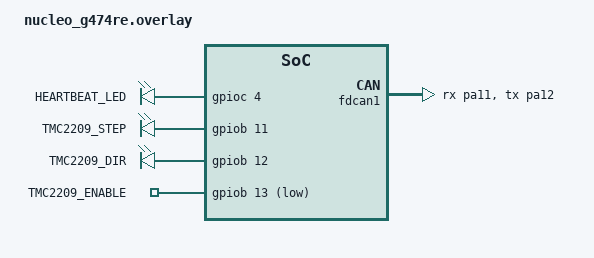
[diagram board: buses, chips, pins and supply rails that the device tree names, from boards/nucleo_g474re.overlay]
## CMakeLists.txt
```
#
# Motor Node MCU
# STM32 NUCLEO-G474RE
# Zephyr RTOS 3.7 LTS
#

cmake_minimum_required(VERSION 3.20.0)

# ============================================================
# Devicetree Overlay
#
# nucleo_g474re.overlay lives in boards/nucleo_g474re.overlay,
# which is Zephyr's standard per-board overlay location. West
# auto-detects and applies an overlay at
# <app_root>/boards/<board>.overlay with zero extra CMake
# configuration — no DTC_OVERLAY_FILE override needed here.
# If the board target ever changes, rename the overlay file to
# match the new board name under boards/.
# ============================================================

find_package(Zephyr REQUIRED HINTS $ENV{ZEPHYR_BASE})
project(motor_node_mcu)

# ============================================================
# C++20 Standard (Rule 2)
# ============================================================

set(CMAKE_CXX_STANDARD 20)
set(CMAKE_CXX_STANDARD_REQUIRED ON)
set(CMAKE_CXX_EXTENSIONS OFF)

# ============================================================
# Compiler Flags — Zero Warnings Policy for application code
# (Rule 2 & 3)
#
# NOTE: -Wpedantic is intentionally NOT applied. Zephyr's own
# kernel headers (spinlock.h, kernel.h, sys_clock.h, log_msg.h,
# sw_isr_table.h, etc.) rely on GNU C extensions — flexible
# array members, compound literals, anonymous structs, and
# statement expressions — that are required by the Zephyr C
# kernel ABI and are not valid strict ISO C++. These are
# vendor-RTOS headers outside this project's control; -Wpedantic
# cannot be satisfied against them in a C++ Zephyr application.
# This is consistent with upstream Zephyr's own C++ sample apps.
#
# -Wno-format silences a known Zephyr __ASSERT false positive
# where %p is used against typed pointers (e.g. k_spinlock*)
# inside spinlock.h; this is a vendor header issue, not an
# application defect.
#
# -Wno-volatile silences errors from ST's CMSIS/HAL/LL register
# access macros (SET_BIT, CLEAR_BIT, SCB->SHCSR |= ..., etc. in
# stm32g4xx_ll_*.h and mpu_armv7.h). These macros perform
# compound assignment on volatile-qualified memory-mapped
# hardware registers, which C++20 deprecates and GCC's
# -Wvolatile flags as an error under -Werror. This is required,
# correct register-access behavior for direct hardware control
# and is vendor silicon-support code outside this project's
# control; the application's own files contain no volatile
# compound-assignment usage of this kind.
# ============================================================

target_compile_options(app PRIVATE
    -std=c++20
    -Wall
    -Wextra
    -Werror
    -Wno-format
    -Wno-volatile
)

# ============================================================
# Include directories
# ============================================================

target_include_directories(app PRIVATE
    include
)

# ============================================================
# Source files
# ============================================================

target_sources(app PRIVATE
    src/main.cpp
    src/gpio_overlay.cpp
    src/canfd.cpp
    src/heartbeat.cpp
    src/stepper_motor_driver.cpp
)
```

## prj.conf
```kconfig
#
# Motor Node MCU Configuration
# Zephyr RTOS 3.7 LTS
#

# ============================================================
# C LIBRARY SELECTION
# ============================================================
# Zephyr 3.7.0 + Zephyr SDK 0.17.2 has a known regression where
# lib/libc/picolibc/libc-hooks.c conflicts with the picolibc
# headers bundled in this SDK version ("conflicting types for
# '__lock___libc_recursive_mutex'"). This is an upstream
# SDK/source mismatch, not an application defect. Newlib does
# not have this conflict and is fully supported on this target;
# switching to it is the standard workaround until the picolibc
# integration is fixed upstream or a matching SDK/Zephyr pair is
# used instead.
# ============================================================

CONFIG_NEWLIB_LIBC=y

# ============================================================
# BASIC SYSTEM
# ============================================================

CONFIG_MAIN_STACK_SIZE=2048
CONFIG_SYSTEM_WORKQUEUE_STACK_SIZE=2048

CONFIG_LOG=y
CONFIG_LOG_DEFAULT_LEVEL=3

CONFIG_PRINTK=y

# ============================================================
# GPIO
# ============================================================

CONFIG_GPIO=y

# ============================================================
# CAN (FDCAN)
# ============================================================

CONFIG_CAN=y
CONFIG_CAN_FD_MODE=y

CONFIG_CAN_RX_TIMESTAMP=y

# ============================================================
# THREADING
# ============================================================

CONFIG_MULTITHREADING=y

# ============================================================
# LOGGING BACKEND
# ============================================================

CONFIG_LOG_MODE_IMMEDIATE=y

# ============================================================
# DEBUG SUPPORT (OPTIONAL)
# ============================================================

CONFIG_ASSERT=y
CONFIG_DEBUG=y

# ============================================================
# STACK PROTECTION
# ============================================================

CONFIG_THREAD_STACK_INFO=y
CONFIG_INIT_STACKS=y

# ============================================================
# KERNEL TICK CONFIG
# ============================================================

CONFIG_TICKLESS_KERNEL=y

# ============================================================
# NO HEAP ALLOCATION (Rule 1)
# ============================================================

CONFIG_HEAP_MEM_POOL_SIZE=0
```

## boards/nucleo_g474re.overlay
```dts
#include <zephyr/dt-bindings/gpio/gpio.h>

&gpiob {
    status = "okay";
};

&gpioc {
    status = "okay";
};

/ {
    aliases {
        heartbeat-led   = &heartbeat_led;
        stepper-step    = &stepper_step;
        stepper-dir     = &stepper_dir;
        stepper-enable  = &stepper_enable;
        canfd0          = &fdcan1;
    };

    heartbeat_leds {
        compatible = "gpio-leds";

        heartbeat_led: heartbeat_led {
            gpios = <&gpioc 4 GPIO_ACTIVE_HIGH>;
            label = "HEARTBEAT_LED";
        };
    };

    /* ============================================================
     * TMC2209 STEP/DIR/EN outputs
     *
     * Reuses the GPIOB pins previously wired to the L298N IN1-IN4
     * inputs (PB11-PB14). Only 3 of the 4 former pins are needed
     * for TMC2209 STEP/DIR/EN control, so PB14 is now free.
     *
     * ENABLE is GPIO_ACTIVE_LOW because the TMC2209's EN pin is
     * hardware active-low (driver outputs enabled when EN is
     * driven low). Declaring it ACTIVE_LOW here lets application
     * code treat gpio_pin_set_dt(&enable, 1) as "enable the
     * driver" regardless of the pin's physical polarity.
     * ============================================================
     */
    tmc2209_outputs {
        compatible = "gpio-leds";

        stepper_step: stepper_step {
            gpios = <&gpiob 11 GPIO_ACTIVE_HIGH>;
            label = "TMC2209_STEP";
        };

        stepper_dir: stepper_dir {
            gpios = <&gpiob 12 GPIO_ACTIVE_HIGH>;
            label = "TMC2209_DIR";
        };

        stepper_enable: stepper_enable {
            gpios = <&gpiob 13 GPIO_ACTIVE_LOW>;
            label = "TMC2209_ENABLE";
        };
    };
};

/ {
    chosen {
        zephyr,canbus = &fdcan1;
    };
};

&fdcan1 {
    status = "okay";
    pinctrl-0 = <&fdcan1_rx_pa11 &fdcan1_tx_pa12>;
    pinctrl-names = "default";
};
```

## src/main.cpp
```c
/*
 * SPDX-License-Identifier: Apache-2.0
 *
 * Main Application Entry
 * Motor Node MCU
 * Board : STM32 NUCLEO-G474RE
 * RTOS  : Zephyr 3.7 LTS
 */

#include <zephyr/kernel.h>
#include <zephyr/logging/log.h>
#include <cstring>

#include "gpio_overlay.hpp"
#include "canfd.hpp"
#include "heartbeat.hpp"
#include "stepper_motor_driver.hpp"

LOG_MODULE_REGISTER(main, CONFIG_LOG_DEFAULT_LEVEL);

namespace motor_node
{

/* ============================================================
 * THREAD STACKS
 * ============================================================
 */

K_THREAD_STACK_DEFINE(motor_stack,     1024);
K_THREAD_STACK_DEFINE(heartbeat_stack, 1024);

/* ============================================================
 * THREAD CONTROL BLOCKS
 * ============================================================
 */

static struct k_thread motor_thread_data;
static struct k_thread heartbeat_thread_data;

/* ============================================================
 * SYSTEM FAULT FLAG
 * ============================================================
 */

static bool g_system_fault = false;

/* ============================================================
 * MOTOR THREAD
 * ============================================================
 */

static void motor_thread(void *, void *, void *)
{
    while (true) {
        StepperMotorDriver::update();
    }
}

/* ============================================================
 * HEARTBEAT THREAD
 * ============================================================
 */

static void heartbeat_thread(void *, void *, void *)
{
    while (true) {
        Heartbeat::update();
        k_msleep(10);
    }
}

/* ============================================================
 * CAN RX CALLBACK (registered once in can_setup_rx)
 * ============================================================
 */

static void can_rx_bridge(const struct device *dev,
                          struct can_frame    *frame,
                          void                *user_data)
{
    ARG_UNUSED(dev);
    ARG_UNUSED(user_data);

    if (frame == nullptr) {
        return;
    }

    CanFd::processReceivedMessage(frame);
}

/* ============================================================
 * SYSTEM INIT
 * ============================================================
 */

static bool system_init()
{
    bool ok = true;

    ok &= GpioOverlay::init();
    ok &= CanFd::init();

    StepperMotorDriver::init();
    StepperMotorDriver::setSpeedPercent(50U); /* TMC2209 default: 50% speed */
    Heartbeat::init();

    LOG_INF("System initialization complete");

    return ok;
}

/* ============================================================
 * CAN FILTER SETUP
 * ============================================================
 * Zephyr can_add_rx_filter() signature:
 *   int can_add_rx_filter(const struct device *dev,
 *                         can_rx_callback_t    cb,
 *                         void                *user_data,
 *                         const struct can_filter *filter);
 *
 * Pass filter = nullptr to accept all frames (open filter).
 * ============================================================
 */

static void can_setup_rx()
{
    const struct device *can_dev = DEVICE_DT_GET(DT_ALIAS(canfd0));

    if (!device_is_ready(can_dev)) {
        LOG_ERR("CAN device not ready in RX setup");
        return;
    }

    /* Open filter: accept all frames.
     * Zero-initialize first, then set fields explicitly. This
     * avoids -Werror=missing-field-initializers / designator-order
     * errors that occur with brace-list designated initializers
     * if the struct has more members than {flags, id, mask} in a
     * given Zephyr version/configuration. */
    static struct can_filter s_accept_all_filter;
    memset(&s_accept_all_filter, 0, sizeof(s_accept_all_filter));
    s_accept_all_filter.flags = 0U;
    s_accept_all_filter.id    = 0U;
    s_accept_all_filter.mask  = 0U;

    int ret = can_add_rx_filter(can_dev,
                                can_rx_bridge,
                                nullptr,
                                &s_accept_all_filter);
    if (ret < 0) {
        LOG_ERR("CAN RX filter registration failed: %d", ret);
        return;
    }

    LOG_INF("CAN RX filter configured");
}

/* ============================================================
 * EMERGENCY STOP
 * ============================================================
 */

static void system_emergency_stop()
{
    g_system_fault = true;

    StepperMotorDriver::stop();
    GpioOverlay::setHeartbeatLed(false);

    LOG_ERR("EMERGENCY STOP ACTIVATED");
}

/* ============================================================
 * HEALTH MONITOR (called from main safety loop)
 * ============================================================
 */

static void system_health_monitor()
{
    /* Placeholder for future extension:
     * - CAN timeout detection
     * - motor stall detection
     * - heartbeat validation
     */

    if (g_system_fault) {
        while (true) {
            k_msleep(1000);
        }
    }
}

/* ============================================================
 * CLEAN SHUTDOWN
 * ============================================================
 */

static void system_shutdown()
{
    LOG_WRN("System shutdown requested");

    StepperMotorDriver::stop();
    GpioOverlay::setStepperEnable(false);
    GpioOverlay::setStepperStep(false);
    GpioOverlay::setHeartbeatLed(false);
}

/* ============================================================
 * MAIN — single definition
 * ============================================================
 */

int main()
{
    LOG_INF("Motor Node MCU Booting...");

    if (!system_init()) {
        LOG_ERR("System init failed");
        return -1;
    }

    can_setup_rx();

    /* Start motor thread */
    k_thread_create(&motor_thread_data,
                    motor_stack,
                    K_THREAD_STACK_SIZEOF(motor_stack),
                    motor_thread,
                    nullptr, nullptr, nullptr,
                    5, 0, K_NO_WAIT);

    /* Start heartbeat thread */
    k_thread_create(&heartbeat_thread_data,
                    heartbeat_stack,
                    K_THREAD_STACK_SIZEOF(heartbeat_stack),
                    heartbeat_thread,
                    nullptr, nullptr, nullptr,
                    5, 0, K_NO_WAIT);

    LOG_INF("System fully operational");

    /* ========================================================
     * MAIN SAFETY LOOP
     * ======================================================== */
    while (true) {

        system_health_monitor();

        /* Fault injection hook (driven by CAN or ISR in future) */
        if (false) {
            system_emergency_stop();
        }

        k_msleep(100);
    }

    system_shutdown();

    return 0;
}

} // namespace motor_node

/* ============================================================
 * END OF FILE
 * ============================================================
 */
```

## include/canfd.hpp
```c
/*
 * SPDX-License-Identifier: Apache-2.0
 *
 * CAN-FD Protocol Layer (Motor Node MCU)
 * Board : STM32 NUCLEO-G474RE
 * RTOS  : Zephyr 3.7 LTS
 *
 * Responsibility:
 * - Decode CAN messages
 * - Route commands to StepperMotorDriver
 * - No hardware access (only via GpioOverlay)
 */

#pragma once

#include <array>
#include <cstdint>
#include <zephyr/drivers/can.h>

namespace motor_node
{

/**
 * @brief CAN message identifiers for Motor Node MCU
 */
namespace can_id
{
    constexpr std::uint32_t kStartMotor  = 0x400U;
    constexpr std::uint32_t kStopMotor   = 0x100U;
    constexpr std::uint32_t kHeartbeatTx = 0x201U;
}

/**
 * @brief Heartbeat payload / fleet sizing constants.
 *
 * The heartbeat frame carries a single payload byte identifying
 * which node sent it, so multiple nodes can share CAN ID
 * can_id::kHeartbeatTx while still being distinguishable by
 * receivers (Rule 10: no magic numbers).
 */
namespace heartbeat_cfg
{
    /// @brief This node's unique identifier, placed in the heartbeat payload.
    constexpr std::uint8_t kThisNodeId = 0x01U;

    /// @brief Number of bytes carried in a heartbeat frame's payload.
    constexpr std::uint8_t kHeartbeatDlc = 1U;

    /// @brief Maximum number of distinct remote nodes tracked for liveness.
    constexpr std::size_t kMaxTrackedNodes = 8U;

    /// @brief Sentinel value meaning "this slot is unused".
    constexpr std::uint8_t kInvalidNodeId = 0xFFU;

    /// @brief A node is considered stale if not heard from within this window (ms).
    constexpr std::uint32_t kNodeTimeoutMs = 2000U;
}

/**
 * @brief Liveness record for a single remote node's heartbeat.
 */
struct RemoteNodeStatus
{
    /// @brief Node identifier extracted from the heartbeat payload.
    std::uint8_t nodeId = heartbeat_cfg::kInvalidNodeId;

    /// @brief Timestamp (ms, k_uptime_get_32) of the last heartbeat seen.
    std::uint32_t lastSeenMs = 0U;
};

/**
 * @brief CAN-FD protocol handler
 *
 * Responsibilities:
 * - Receive CAN frames
 * - Decode commands
 * - Call motor driver APIs
 */
class CanFd final
{
public:
    /// @brief Deleted: static-only utility class, no instantiation allowed.
    CanFd() = delete;

    /// @brief Deleted: static-only utility class.
    ~CanFd() = delete;

    /**
     * @brief Initialize CAN interface.
     * @return true if success.
     */
    static bool init();

    /**
     * @brief Process received CAN frame.
     * @param frame Pointer to CAN frame; must not be nullptr.
     */
    static void processReceivedMessage(const struct can_frame *frame);

    /**
     * @brief Send heartbeat frame.
     *
     * Transmits a 1-byte CAN-FD frame on can_id::kHeartbeatTx whose
     * payload identifies this node (heartbeat_cfg::kThisNodeId), so
     * other nodes sharing the same heartbeat ID can be told apart.
     *
     * @return true if transmitted successfully.
     */
    static bool sendHeartbeat();

    /**
     * @brief Look up the liveness record for a remote node.
     * @param nodeId Node identifier to query.
     * @return Pointer to the record if known, nullptr if never seen.
     */
    static const RemoteNodeStatus *getRemoteNodeStatus(std::uint8_t nodeId);

    /**
     * @brief Check whether a given remote node's heartbeat is still fresh.
     * @param nodeId Node identifier to query.
     * @return true if a heartbeat was seen within heartbeat_cfg::kNodeTimeoutMs.
     */
    static bool isRemoteNodeAlive(std::uint8_t nodeId);

private:
    /**
     * @brief Record/update the liveness timestamp for a remote heartbeat.
     * @param nodeId Node identifier extracted from the received payload.
     */
    static void recordRemoteHeartbeat(std::uint8_t nodeId);

private:
    static const struct device *can_dev_;

    /// @brief Fixed-size table of tracked remote nodes (Rule 1: no heap).
    static inline std::array<RemoteNodeStatus, heartbeat_cfg::kMaxTrackedNodes> remote_nodes_{};
};

} // namespace motor_node
```

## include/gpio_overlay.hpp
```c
/*
 * SPDX-License-Identifier: Apache-2.0
 *
 * GPIO Overlay Abstraction Layer
 * Project: Motor Node MCU
 * Board  : STM32 NUCLEO-G474RE
 * RTOS   : Zephyr 3.7 LTS
 *
 * Responsibility:
 * - Only hardware access layer (GPIO + CAN handle exposure if needed)
 * - No business logic
 */

#pragma once

#include <cstdint>
#include <zephyr/drivers/gpio.h>
#include <zephyr/drivers/can.h>

namespace motor_node
{

/**
 * @brief Hardware abstraction wrapper for GPIO and CAN access.
 *
 * Static-only utility class. Instantiation is explicitly forbidden
 * because all members are static (no per-instance state).
 */
class GpioOverlay final
{
public:
    /// @brief Deleted: static-only utility class, no instantiation allowed.
    GpioOverlay() = delete;

    /// @brief Deleted: static-only utility class.
    ~GpioOverlay() = delete;

    /**
     * @brief Initialize all GPIO peripherals.
     * @return true if initialization successful, false otherwise.
     */
    static bool init();

    /**
     * @brief Toggle heartbeat LED.
     */
    static void toggleHeartbeatLed();

    /**
     * @brief Set heartbeat LED state.
     * @param enable true = ON, false = OFF
     */
    static void setHeartbeatLed(bool enable);

    /**
     * @brief Drive the TMC2209 STEP pin.
     * @param level true = STEP pin driven high, false = low.
     */
    static void setStepperStep(bool level);

    /**
     * @brief Drive the TMC2209 DIR pin.
     * @param forward true = forward rotation, false = reverse.
     */
    static void setStepperDir(bool forward);

    /**
     * @brief Drive the TMC2209 ENABLE pin.
     *
     * The devicetree alias for this pin is GPIO_ACTIVE_LOW (matching
     * the TMC2209's hardware-active-low EN input), so callers always
     * use normal positive logic here: true = driver outputs enabled,
     * false = driver outputs disabled (coils free / de-energized).
     *
     * @param enable true = enable driver outputs, false = disable.
     */
    static void setStepperEnable(bool enable);

    /**
     * @brief Get CAN device handle (FDCAN1).
     * @return pointer to Zephyr CAN device
     */
    static const struct device *getCanDevice();

private:
    static const struct device *can_dev_;

    static gpio_dt_spec heartbeat_led_;

    static gpio_dt_spec stepper_step_;
    static gpio_dt_spec stepper_dir_;
    static gpio_dt_spec stepper_enable_;
};

} // namespace motor_node
```

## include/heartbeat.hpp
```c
/*
 * SPDX-License-Identifier: Apache-2.0
 *
 * Heartbeat Module
 * Motor Node MCU
 * Board : STM32 NUCLEO-G474RE
 * RTOS  : Zephyr 3.7 LTS
 *
 * Responsibility:
 * - Periodic CAN heartbeat transmission
 * - LED blinking (PC4)
 * - System alive indication
 */

#pragma once

#include <cstdint>

namespace motor_node
{

/**
 * @brief Heartbeat manager
 *
 * Sends periodic CAN heartbeat and toggles LED.
 * Static-only utility class — instantiation is forbidden.
 */
class Heartbeat final
{
public:
    /// @brief Deleted: static-only utility class, no instantiation allowed.
    Heartbeat() = delete;

    /// @brief Deleted: static-only utility class.
    ~Heartbeat() = delete;

    /**
     * @brief Initialize heartbeat module.
     */
    static void init();

    /**
     * @brief Periodic update (called from heartbeat thread).
     */
    static void update();

private:
    /**
     * @brief Toggle LED state via GpioOverlay.
     */
    static void toggleLed();

    /**
     * @brief Transmit CAN heartbeat frame via CanFd.
     */
    static void sendCanHeartbeat();

private:
    static inline bool          led_state_      = false;
    static inline std::uint32_t last_toggle_ms_ = 0U;

    /// @brief LED blink and CAN TX interval in milliseconds.
    static constexpr std::uint32_t kBlinkIntervalMs = 500U;
};

} // namespace motor_node
```

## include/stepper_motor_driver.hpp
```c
/*
 * SPDX-License-Identifier: Apache-2.0
 *
 * Stepper Motor Driver (TMC2209, STEP/DIR control)
 * Motor Node MCU
 * Board : STM32 NUCLEO-G474RE
 * RTOS  : Zephyr 3.7 LTS
 *
 * Responsibility:
 * - STEP/DIR pulse generation for a TMC2209 driver
 * - Start/Stop control from CAN commands
 * - Speed control as a percentage of the configured speed range
 */

#pragma once

#include <cstdint>

namespace motor_node
{

/**
 * @brief Stepper Motor Driver
 *
 * Drives a TMC2209 in STEP/DIR mode (UART interface not used).
 * No hardware access directly (uses GpioOverlay only).
 */
class StepperMotorDriver final
{
public:
    /// @brief Deleted: static-only utility class, no instantiation allowed.
    StepperMotorDriver() = delete;

    /// @brief Deleted: static-only utility class.
    ~StepperMotorDriver() = delete;

    /**
     * @brief Initialize motor driver state.
     */
    static void init();

    /**
     * @brief Start continuous rotation.
     *
     * Enables the TMC2209 driver outputs and begins pulsing STEP
     * at the rate set by the current speed percentage.
     */
    static void start();

    /**
     * @brief Stop motor immediately and disable driver outputs.
     */
    static void stop();

    /**
     * @brief Periodic update function (called from motor thread).
     */
    static void update();

    /**
     * @brief Set rotation speed as a percentage of the configured range.
     *
     * 0%   -> kMaxStepDelayMs between pulses (slowest)
     * 100% -> kMinStepDelayMs between pulses (fastest)
     *
     * @param percent Desired speed, clamped to [0, 100].
     */
    static void setSpeedPercent(std::uint8_t percent);

    /**
     * @brief Set rotation direction.
     * @param forward true = forward, false = reverse.
     */
    static void setDirection(bool forward);

private:
    /**
     * @brief Emit a single STEP pulse on the TMC2209 STEP pin.
     */
    static void step();

    /**
     * @brief Compute the current inter-step delay from speed_percent_.
     * @return Delay in milliseconds between STEP pulses.
     */
    static std::uint32_t stepDelayMs();

private:
    static inline bool          running_       = false;
    static inline bool          direction_     = true;

    /// @brief Current speed setting, 0-100 (%). Defaults to 50%.
    static inline std::uint8_t  speed_percent_ = 50U;

    /// @brief Width of the STEP high pulse, in microseconds
    ///        (TMC2209 requires a minimum STEP high time; see datasheet).
    static constexpr std::uint32_t kStepPulseWidthUs = 2U;

    /// @brief Inter-step delay at 100% speed (fastest).
    static constexpr std::uint32_t kMinStepDelayMs = 2U;

    /// @brief Inter-step delay at 0% speed (slowest, still moving).
    static constexpr std::uint32_t kMaxStepDelayMs = 20U;
};

} // namespace motor_node
```

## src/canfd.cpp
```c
/*
 * SPDX-License-Identifier: Apache-2.0
 *
 * CAN-FD Protocol Layer Implementation
 * Motor Node MCU
 * Board : STM32 NUCLEO-G474RE
 * RTOS  : Zephyr 3.7 LTS
 */

#include "canfd.hpp"
#include "stepper_motor_driver.hpp"

#include <zephyr/kernel.h>
#include <zephyr/logging/log.h>
#include <cstring>

LOG_MODULE_REGISTER(canfd, CONFIG_LOG_DEFAULT_LEVEL);

namespace motor_node
{

/* ============================================================
 * STATIC MEMBER
 * ============================================================
 */

const struct device *CanFd::can_dev_ = nullptr;

/* ============================================================
 * CAN INIT
 * ============================================================
 */

bool CanFd::init()
{
    can_dev_ = DEVICE_DT_GET(DT_ALIAS(canfd0));

    if (!device_is_ready(can_dev_)) {
        LOG_ERR("CAN device not ready");
        return false;
    }

    int ret = can_start(can_dev_);
    if (ret != 0) {
        LOG_ERR("CAN start failed: %d", ret);
        return false;
    }

    LOG_INF("CAN initialized successfully");

    return true;
}

/* ============================================================
 * MESSAGE PROCESSOR
 * ============================================================
 */

void CanFd::processReceivedMessage(const struct can_frame *frame)
{
    if (frame == nullptr) {
        return;
    }

    const std::uint32_t id = frame->id;

    switch (id)
    {
        case can_id::kStartMotor:
        {
            LOG_INF("CAN: START MOTOR");
            StepperMotorDriver::start();
            break;
        }

        case can_id::kStopMotor:
        {
            LOG_INF("CAN: STOP MOTOR");
            StepperMotorDriver::stop();
            break;
        }

        case can_id::kHeartbeatTx:
        {
            if (frame->dlc >= heartbeat_cfg::kHeartbeatDlc) {
                const std::uint8_t remoteNodeId = frame->data[0];
                recordRemoteHeartbeat(remoteNodeId);
                LOG_INF("CAN: Heartbeat from node 0x%02X", remoteNodeId);
            } else {
                LOG_WRN("CAN: Heartbeat frame with unexpected DLC %u", frame->dlc);
            }
            break;
        }

        default:
        {
            LOG_WRN("CAN: Unknown ID 0x%X", id);
            break;
        }
    }
}

/* ============================================================
 * HEARTBEAT TX
 * ============================================================
 */

bool CanFd::sendHeartbeat()
{
    if (can_dev_ == nullptr) {
        return false;
    }

    struct can_frame frame;
    memset(&frame, 0, sizeof(frame));

    frame.id      = can_id::kHeartbeatTx;
    frame.dlc     = heartbeat_cfg::kHeartbeatDlc;
    frame.data[0] = heartbeat_cfg::kThisNodeId;

    int ret = can_send(can_dev_, &frame, K_MSEC(10), nullptr, nullptr);

    if (ret != 0) {
        LOG_ERR("CAN heartbeat send failed: %d", ret);
        return false;
    }

    return true;
}

/* ============================================================
 * REMOTE NODE LIVENESS TRACKING
 * ============================================================
 * Fixed-size table (Rule 1: no heap). New nodes occupy the first
 * free (kInvalidNodeId) slot or, if the table is full and the
 * node is still unknown, the heartbeat is recorded without a
 * dedicated slot (oldest-slot eviction is left as a documented
 * future extension rather than silently growing storage).
 * ============================================================
 */

void CanFd::recordRemoteHeartbeat(std::uint8_t nodeId)
{
    const std::uint32_t now = k_uptime_get_32();

    /* Update an existing slot if this node is already tracked. */
    for (auto &slot : remote_nodes_) {
        if (slot.nodeId == nodeId) {
            slot.lastSeenMs = now;
            return;
        }
    }

    /* Otherwise claim the first free slot. */
    for (auto &slot : remote_nodes_) {
        if (slot.nodeId == heartbeat_cfg::kInvalidNodeId) {
            slot.nodeId    = nodeId;
            slot.lastSeenMs = now;
            return;
        }
    }

    LOG_WRN("CAN: Remote node table full, cannot track node 0x%02X", nodeId);
}

const RemoteNodeStatus *CanFd::getRemoteNodeStatus(std::uint8_t nodeId)
{
    for (const auto &slot : remote_nodes_) {
        if (slot.nodeId == nodeId) {
            return &slot;
        }
    }

    return nullptr;
}

bool CanFd::isRemoteNodeAlive(std::uint8_t nodeId)
{
    const RemoteNodeStatus *status = getRemoteNodeStatus(nodeId);

    if (status == nullptr) {
        return false;
    }

    const std::uint32_t now = k_uptime_get_32();

    return ((now - status->lastSeenMs) <= heartbeat_cfg::kNodeTimeoutMs);
}

} // namespace motor_node

/* ============================================================
 * SAFE STATE (called on CAN fault)
 * ============================================================
 */

void canfd_enter_safe_state()
{
    motor_node::StepperMotorDriver::stop();
}

/* ============================================================
 * DEBUG UTILITIES
 * ============================================================
 */

#ifdef CONFIG_LOG

void canfd_debug_state()
{
    LOG_INF("CANFD Debug:");

    const struct device *dev = DEVICE_DT_GET(DT_ALIAS(canfd0));

    LOG_INF("CAN device ready: %d", device_is_ready(dev));
}

#endif /* CONFIG_LOG */

/* ============================================================
 * END OF FILE
 * ============================================================
 */
```

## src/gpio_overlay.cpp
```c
/*
 * SPDX-License-Identifier: Apache-2.0
 *
 * GPIO Overlay Implementation
 * Project: Motor Node MCU
 * Board  : STM32 NUCLEO-G474RE
 * RTOS   : Zephyr 3.7 LTS
 */

#include "gpio_overlay.hpp"

#include <zephyr/kernel.h>
#include <zephyr/logging/log.h>

LOG_MODULE_REGISTER(gpio_overlay, CONFIG_LOG_DEFAULT_LEVEL);

namespace motor_node
{

/* ============================================================
 * STATIC MEMBER DEFINITIONS
 * ============================================================
 */

const struct device *GpioOverlay::can_dev_ = nullptr;

gpio_dt_spec GpioOverlay::heartbeat_led_ = GPIO_DT_SPEC_GET(DT_ALIAS(heartbeat_led), gpios);

gpio_dt_spec GpioOverlay::stepper_step_   = GPIO_DT_SPEC_GET(DT_ALIAS(stepper_step), gpios);
gpio_dt_spec GpioOverlay::stepper_dir_    = GPIO_DT_SPEC_GET(DT_ALIAS(stepper_dir), gpios);
gpio_dt_spec GpioOverlay::stepper_enable_ = GPIO_DT_SPEC_GET(DT_ALIAS(stepper_enable), gpios);

/* ============================================================
 * INIT FUNCTION
 * ============================================================
 */

bool GpioOverlay::init()
{
    int ret;

    if (!device_is_ready(heartbeat_led_.port)) {
        LOG_ERR("Heartbeat LED GPIO not ready");
        return false;
    }

    ret = gpio_pin_configure_dt(&heartbeat_led_, GPIO_OUTPUT_INACTIVE);
    if (ret < 0) {
        LOG_ERR("Failed to configure heartbeat LED");
        return false;
    }

    if (!device_is_ready(stepper_step_.port) ||
        !device_is_ready(stepper_dir_.port) ||
        !device_is_ready(stepper_enable_.port)) {
        LOG_ERR("TMC2209 GPIO not ready");
        return false;
    }

    ret = gpio_pin_configure_dt(&stepper_step_, GPIO_OUTPUT_INACTIVE);
    if (ret < 0) { return false; }

    ret = gpio_pin_configure_dt(&stepper_dir_, GPIO_OUTPUT_INACTIVE);
    if (ret < 0) { return false; }

    /* INACTIVE here means "not enabled" thanks to GPIO_ACTIVE_LOW
     * on the stepper-enable alias, so the driver boots disabled. */
    ret = gpio_pin_configure_dt(&stepper_enable_, GPIO_OUTPUT_INACTIVE);
    if (ret < 0) { return false; }

    /* Cache CAN device handle for later retrieval */
    can_dev_ = DEVICE_DT_GET(DT_ALIAS(canfd0));
    if (!device_is_ready(can_dev_)) {
        LOG_ERR("CAN device not ready during GPIO overlay init");
        can_dev_ = nullptr;
        return false;
    }

    LOG_INF("GPIO Overlay initialized successfully");

    return true;
}

/* ============================================================
 * HEARTBEAT LED CONTROL
 * ============================================================
 */

void GpioOverlay::toggleHeartbeatLed()
{
    if (heartbeat_led_.port == nullptr) {
        return;
    }

    gpio_pin_toggle_dt(&heartbeat_led_);
}

void GpioOverlay::setHeartbeatLed(bool enable)
{
    if (heartbeat_led_.port == nullptr) {
        return;
    }

    gpio_pin_set_dt(&heartbeat_led_, static_cast<int>(enable));
}

/* ============================================================
 * TMC2209 STEP/DIR/ENABLE CONTROL
 * ============================================================
 */

void GpioOverlay::setStepperStep(bool level)
{
    if (stepper_step_.port == nullptr) {
        return;
    }

    gpio_pin_set_dt(&stepper_step_, static_cast<int>(level));
}

void GpioOverlay::setStepperDir(bool forward)
{
    if (stepper_dir_.port == nullptr) {
        return;
    }

    gpio_pin_set_dt(&stepper_dir_, static_cast<int>(forward));
}

void GpioOverlay::setStepperEnable(bool enable)
{
    if (stepper_enable_.port == nullptr) {
        return;
    }

    /* stepper_enable_ is GPIO_ACTIVE_LOW in the devicetree, so
     * gpio_pin_set_dt() already handles the active-low inversion:
     * passing 1 here drives the physical EN pin low (enabled). */
    gpio_pin_set_dt(&stepper_enable_, static_cast<int>(enable));
}

/* ============================================================
 * CAN DEVICE ACCESS
 * ============================================================
 */

const struct device *GpioOverlay::getCanDevice()
{
    return can_dev_;
}

} // namespace motor_node

/* ============================================================
 * RESET OUTPUTS UTILITY (C linkage, safe-state entry)
 * ============================================================
 * Accesses hardware only through the public GpioOverlay API —
 * no private member access.
 */

void gpio_overlay_reset_outputs()
{
    motor_node::GpioOverlay::setHeartbeatLed(false);
    motor_node::GpioOverlay::setStepperEnable(false);
    motor_node::GpioOverlay::setStepperStep(false);
}

/* ============================================================
 * DEBUG HELPERS (OPTIONAL)
 * ============================================================
 * Accesses hardware only through the public GpioOverlay API —
 * device readiness is checked via the public accessor.
 */

#ifdef CONFIG_LOG

void gpio_overlay_debug_print()
{
    LOG_INF("GPIO Overlay Debug State:");

    const struct device *can_dev = motor_node::GpioOverlay::getCanDevice();
    LOG_INF("CAN device ready via accessor: %d",
            (can_dev != nullptr) && device_is_ready(can_dev));
}

#endif /* CONFIG_LOG */

/* ============================================================
 * END OF FILE
 * ============================================================
 */
```

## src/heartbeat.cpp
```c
/*
 * SPDX-License-Identifier: Apache-2.0
 *
 * Heartbeat Module Implementation
 * Motor Node MCU
 * Board : STM32 NUCLEO-G474RE
 * RTOS  : Zephyr 3.7 LTS
 */

#include "heartbeat.hpp"
#include "gpio_overlay.hpp"
#include "canfd.hpp"

#include <zephyr/kernel.h>
#include <zephyr/logging/log.h>

LOG_MODULE_REGISTER(heartbeat, CONFIG_LOG_DEFAULT_LEVEL);

namespace motor_node
{

/* ============================================================
 * INIT
 * ============================================================
 */

void Heartbeat::init()
{
    led_state_      = false;
    last_toggle_ms_ = k_uptime_get_32();

    GpioOverlay::setHeartbeatLed(false);

    LOG_INF("Heartbeat initialized");
}

/* ============================================================
 * LED TOGGLE
 * ============================================================
 */

void Heartbeat::toggleLed()
{
    led_state_ = !led_state_;

    GpioOverlay::setHeartbeatLed(led_state_);
}

/* ============================================================
 * CAN HEARTBEAT TX
 * ============================================================
 */

void Heartbeat::sendCanHeartbeat()
{
    CanFd::sendHeartbeat();
}

/* ============================================================
 * UPDATE LOOP
 * ============================================================
 * Single definition — includes watchdog timestamp update
 * for optional safety extension (Rule: no duplicate defs).
 * ============================================================
 */

void Heartbeat::update()
{
    const std::uint32_t now = k_uptime_get_32();

    if ((now - last_toggle_ms_) >= kBlinkIntervalMs) {
        last_toggle_ms_ = now;

        toggleLed();
        sendCanHeartbeat();
    }
}

} // namespace motor_node

/* ============================================================
 * SAFETY WATCHDOG TIMESTAMP (file-scope, not private member)
 * ============================================================
 */

namespace
{
    static std::uint32_t g_last_heartbeat_ms = 0U;
}

/**
 * @brief Returns true if heartbeat has fired within the last 2 seconds.
 * @return true if system heartbeat is alive.
 */
bool heartbeat_is_alive()
{
    const std::uint32_t now = k_uptime_get_32();

    constexpr std::uint32_t kTimeoutMs = 2000U;

    return ((now - g_last_heartbeat_ms) <= kTimeoutMs);
}

/* ============================================================
 * DEBUG INFO
 * ============================================================
 * led_state_ and last_toggle_ms_ are private members of
 * Heartbeat — they are not directly accessible here.
 * Debug logs the watchdog status instead (file-scope data).
 * ============================================================
 */

#ifdef CONFIG_LOG

void heartbeat_debug()
{
    LOG_INF("Heartbeat Debug:");
    LOG_INF("Alive status: %d", heartbeat_is_alive());
}

#endif /* CONFIG_LOG */

/* ============================================================
 * END OF FILE
 * ============================================================
 */
```

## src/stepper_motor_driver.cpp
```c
/*
 * SPDX-License-Identifier: Apache-2.0
 *
 * Stepper Motor Driver Implementation (TMC2209, STEP/DIR mode)
 * Motor Node MCU
 * Board : STM32 NUCLEO-G474RE
 * RTOS  : Zephyr 3.7 LTS
 */

#include "stepper_motor_driver.hpp"
#include "gpio_overlay.hpp"

#include <zephyr/kernel.h>
#include <zephyr/logging/log.h>

LOG_MODULE_REGISTER(stepper_motor, CONFIG_LOG_DEFAULT_LEVEL);

namespace motor_node
{

/* ============================================================
 * STATE VARIABLES
 * ============================================================
 */

static bool g_initialized = false;

/* ============================================================
 * SAFETY WATCHDOG TIMESTAMP
 * ============================================================
 * Tracks last step time for future idle-protection extension.
 */

static std::uint32_t g_last_step_time_ms = 0U;

/* ============================================================
 * INIT
 * ============================================================
 */

void StepperMotorDriver::init()
{
    running_       = false;
    direction_     = true;
    speed_percent_ = 50U;

    g_initialized = true;

    GpioOverlay::setStepperDir(direction_);

    LOG_INF("StepperMotorDriver initialized (TMC2209, speed=%u%%)", speed_percent_);
}

/* ============================================================
 * START MOTOR
 * ============================================================
 */

void StepperMotorDriver::start()
{
    if (!g_initialized) {
        init();
    }

    GpioOverlay::setStepperDir(direction_);
    GpioOverlay::setStepperEnable(true);

    running_ = true;

    LOG_INF("Stepper motor START (TMC2209 enabled, speed=%u%%)", speed_percent_);
}

/* ============================================================
 * STOP MOTOR
 * ============================================================
 */

void StepperMotorDriver::stop()
{
    running_ = false;

    /* Immediately disable driver outputs and drop STEP low */
    GpioOverlay::setStepperEnable(false);
    GpioOverlay::setStepperStep(false);

    LOG_INF("Stepper motor STOP (TMC2209 disabled)");
}

/* ============================================================
 * SPEED CONTROL
 * ============================================================
 */

void StepperMotorDriver::setSpeedPercent(std::uint8_t percent)
{
    speed_percent_ = (percent > 100U) ? 100U : percent;

    LOG_INF("Stepper speed set to %u%%", speed_percent_);
}

std::uint32_t StepperMotorDriver::stepDelayMs()
{
    const std::uint32_t range = kMaxStepDelayMs - kMinStepDelayMs;

    return kMaxStepDelayMs - ((range * speed_percent_) / 100U);
}

/* ============================================================
 * DIRECTION CONTROL
 * ============================================================
 */

void StepperMotorDriver::setDirection(bool forward)
{
    direction_ = forward;

    GpioOverlay::setStepperDir(direction_);
}

/* ============================================================
 * STEP EXECUTION
 * ============================================================
 * Emits one STEP pulse: STEP high for kStepPulseWidthUs, then low.
 * The TMC2209 latches a new microstep on the rising edge; DIR is
 * held constant while pulsing. Single definition — includes
 * timestamp update for the optional safety watchdog extension
 * (Rule: no duplicate defs).
 * ============================================================
 */

void StepperMotorDriver::step()
{
    GpioOverlay::setStepperStep(true);
    k_busy_wait(kStepPulseWidthUs);
    GpioOverlay::setStepperStep(false);

    /* Update watchdog timestamp */
    g_last_step_time_ms = k_uptime_get_32();
}

/* ============================================================
 * UPDATE LOOP
 * ============================================================
 * Single definition — called from motor thread.
 * ============================================================
 */

void StepperMotorDriver::update()
{
    if (!running_) {
        return;
    }

    step();

    k_msleep(stepDelayMs());
}

} // namespace motor_node

/* ============================================================
 * EMERGENCY STOP HOOK (C linkage, for CAN fault path)
 * ============================================================
 */

void stepper_motor_emergency_stop()
{
    motor_node::StepperMotorDriver::stop();

    /* Redundant disable/STEP-low for safety */
    motor_node::GpioOverlay::setStepperEnable(false);
    motor_node::GpioOverlay::setStepperStep(false);
}

/* ============================================================
 * DEBUG HELPERS
 * ============================================================
 * Note: running_, direction_, speed_percent_ are private; debug
 * info is logged inside the class methods. External debug only
 * reports the initialized flag (which is file-scope, not private).
 * ============================================================
 */

#ifdef CONFIG_LOG

void stepper_motor_debug()
{
    LOG_INF("Stepper Motor Debug: (detailed state visible in init/start/stop logs)");
}

#endif /* CONFIG_LOG */

/* ============================================================
 * END OF FILE
 * ============================================================
 */
```
